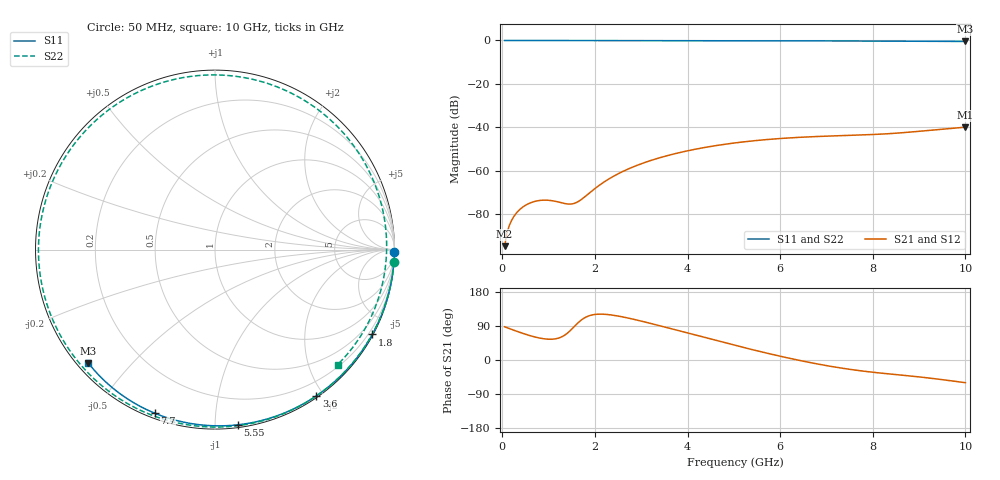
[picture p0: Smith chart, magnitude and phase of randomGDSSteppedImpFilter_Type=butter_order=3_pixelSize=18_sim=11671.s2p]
! freq	dB(S11)	phase(S11)	dB(S12)	phase(S12)
!  dB(S21)	phase(S21)	dB(S22)	phase(S22)
!S-par simulation data
#  GHz  S  DB  R 50
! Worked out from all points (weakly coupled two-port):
!   200 points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, 50 MHz to 10 GHz, reference 50 ohm
!   highest |S21| = -40.01 dB at 10 GHz (marker M1); lowest = -94.9 dB at 50 MHz (marker M2)
!   lowest |S11| = -0.5 dB at 10 GHz (marker M3), VSWR 37.10, Z = 1.54 - j19.1 ohm
!   |S11| at or under -10 dB: nowhere
!   |S22| runs from -0.6 to 0.0 dB; largest |S21 - S12| = 0
!   S11 on the Smith chart (normalised r, x): 50 MHz: open; 1.8 GHz: 0.03, -3.96; 3.6 GHz: 0.02, -1.91; 5.55 GHz: 0.02, -1.14; 7.7 GHz: 0.02, -0.70; 10 GHz: 0.03, -0.38
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0.05  -0.00 -0.8  -94.91 87.7  -94.91 87.7  -0.00 -3.9
0.3  -0.01 -4.8  -79.75 76.3  -79.75 76.3  -0.04 -23.3
0.4  -0.01 -6.4  -77.57 72.0  -77.57 72.0  -0.05 -30.9
0.65  -0.01 -10.3  -74.59 62.5  -74.59 62.5  -0.06 -49.3
0.9  -0.02 -14.3  -73.68 55.9  -73.68 55.9  -0.08 -66.6
1.15  -0.02 -18.2  -74.22 55.9  -74.22 55.9  -0.09 -82.6
1.45  -0.03 -22.9  -75.50 75.5  -75.50 75.5  -0.10 -100.3
1.75  -0.04 -27.6  -72.68 109.3  -72.68 109.3  -0.11 -116.2
1.8  -0.04 -28.3  -71.82 112.8  -71.82 112.8  -0.11 -118.7
2.15  -0.04 -33.7  -65.99 121.0  -65.99 121.0  -0.12 -135.3
2.55  -0.05 -39.8  -60.99 114.9  -60.99 114.9  -0.13 -152.4
3.4  -0.07 -52.4  -54.11 90.4  -54.11 90.4  -0.15 175.6
3.6  -0.07 -55.3  -52.94 84.1  -52.94 84.1  -0.15 168.6
4.3  -0.09 -65.4  -49.65 61.6  -49.65 61.6  -0.17 145.1
5.05  -0.12 -75.8  -47.20 37.9  -47.20 37.9  -0.20 120.5
5.55  -0.14 -82.6  -46.03 22.8  -46.03 22.8  -0.22 104.1
6.15  -0.16 -90.5  -45.03 5.9  -45.03 5.9  -0.24 84.2
6.7  -0.19 -97.6  -44.40 -8.0  -44.40 -8.0  -0.26 65.7
7.7  -0.25 -110.2  -43.65 -27.9  -43.65 -27.9  -0.32 31.7
8.35  -0.30 -118.2  -43.00 -36.7  -43.00 -36.7  -0.36 9.7
9.15  -0.38 -127.9  -41.61 -46.6  -41.61 -46.6  -0.44 -16.5
10  -0.47 -138.1  -40.01 -59.9  -40.01 -59.9  -0.57 -43.2
